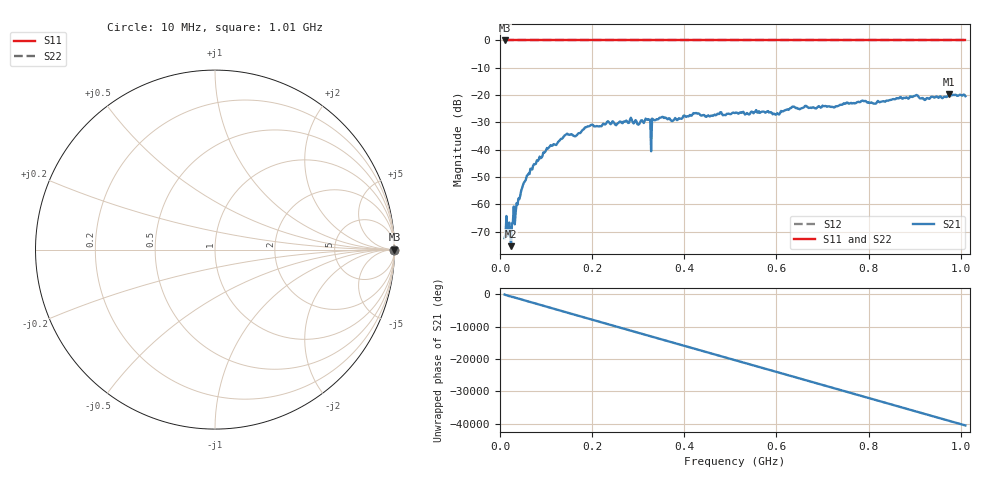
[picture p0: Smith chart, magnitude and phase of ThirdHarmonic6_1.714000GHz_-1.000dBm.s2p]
! 8/16/2025 8:37:29 PM
! C:\ANRITSUVNA\TEMP\TEMP.S2P
! CHANNEL.1
! TR.MEASUREMENT
! RAW.DATA
! RF.CORRECTION.OFF
! AVERAGING.OFF
! IF.BANDWIDTH: 5KHZ
! SWEEPTYPE:  FREQ.SWEEP(Linear)
! Reference Plane Port Info
! PORT:  PORT1  PORT2
! DISTANCE:  0  m  0  m
! TIME:  0  s  0  s
! PHASE.OFFSET:  0  deg.  0  deg.
! LOSS:  0  dB  0  dB
! REF.LOSS:  0  dB  0  dB
! REF.FREQ:  0  Hz  0  Hz
! Power Info
! POWER:  -20  dBm  -20  dBm
! EFF.POWER:  -20  dBm  -20  dBm
! SOURCE.ATTEN:  0  dB  0  dB
! TEST.ATTEN:  0  dB  0  dB
# GHZ S RI R 50.0
! FREQ.GHZ  S11RE  S11IM  S21RE  S21IM  S12RE  S12IM  S22RE  S22IM
!; PortSelection: Port_12
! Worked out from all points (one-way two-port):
!   501 points, 10 MHz to 1.01 GHz, reference 50 ohm
!   highest |S21| = -19.78 dB at 974 MHz (marker M1); lowest = -75.4 dB at 24 MHz (marker M2)
!   lowest |S11| = 0.0 dB at 10 MHz (marker M3)
!   |S11| at or under -10 dB: nowhere
!   |S22| runs from 0.0 to 0.0 dB; largest |S21 - S12| = 1.1
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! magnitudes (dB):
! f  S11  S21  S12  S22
! 10 MHz  0.0  -72.5  0.0  0.0
! 16 MHz  0.0  -71.6  0.0  0.0
! 20 MHz  0.0  -66.7  0.0  0.0
! 24 MHz  0.0  -75.4  0.0  0.0
! 50 MHz  0.0  -52.9  0.0  0.0
! 70 MHz  0.0  -47.3  0.0  0.0
! 106 MHz  0.0  -39.2  0.0  0.0
! 142 MHz  0.0  -34.6  0.0  0.0
! 178 MHz  0.0  -33.0  0.0  0.0
! 198 MHz  0.0  -30.9  0.0  0.0
! 320 MHz  0.0  -29.0  0.0  0.0
! 324 MHz  0.0  -29.1  0.0  0.0
! 332 MHz  0.0  -28.9  0.0  0.0
! 334 MHz  0.0  -29.1  0.0  0.0
! 344 MHz  0.0  -28.8  0.0  0.0
! 510 MHz  0.0  -26.6  0.0  0.0
! 602 MHz  0.0  -26.6  0.0  0.0
! 634 MHz  0.0  -24.3  0.0  0.0
! 678 MHz  0.0  -24.6  0.0  0.0
! 844 MHz  0.0  -22.0  0.0  0.0
! 974 MHz  0.0  -19.8  0.0  0.0
! 1.01 GHz  0.0  -20.4  0.0  0.0
